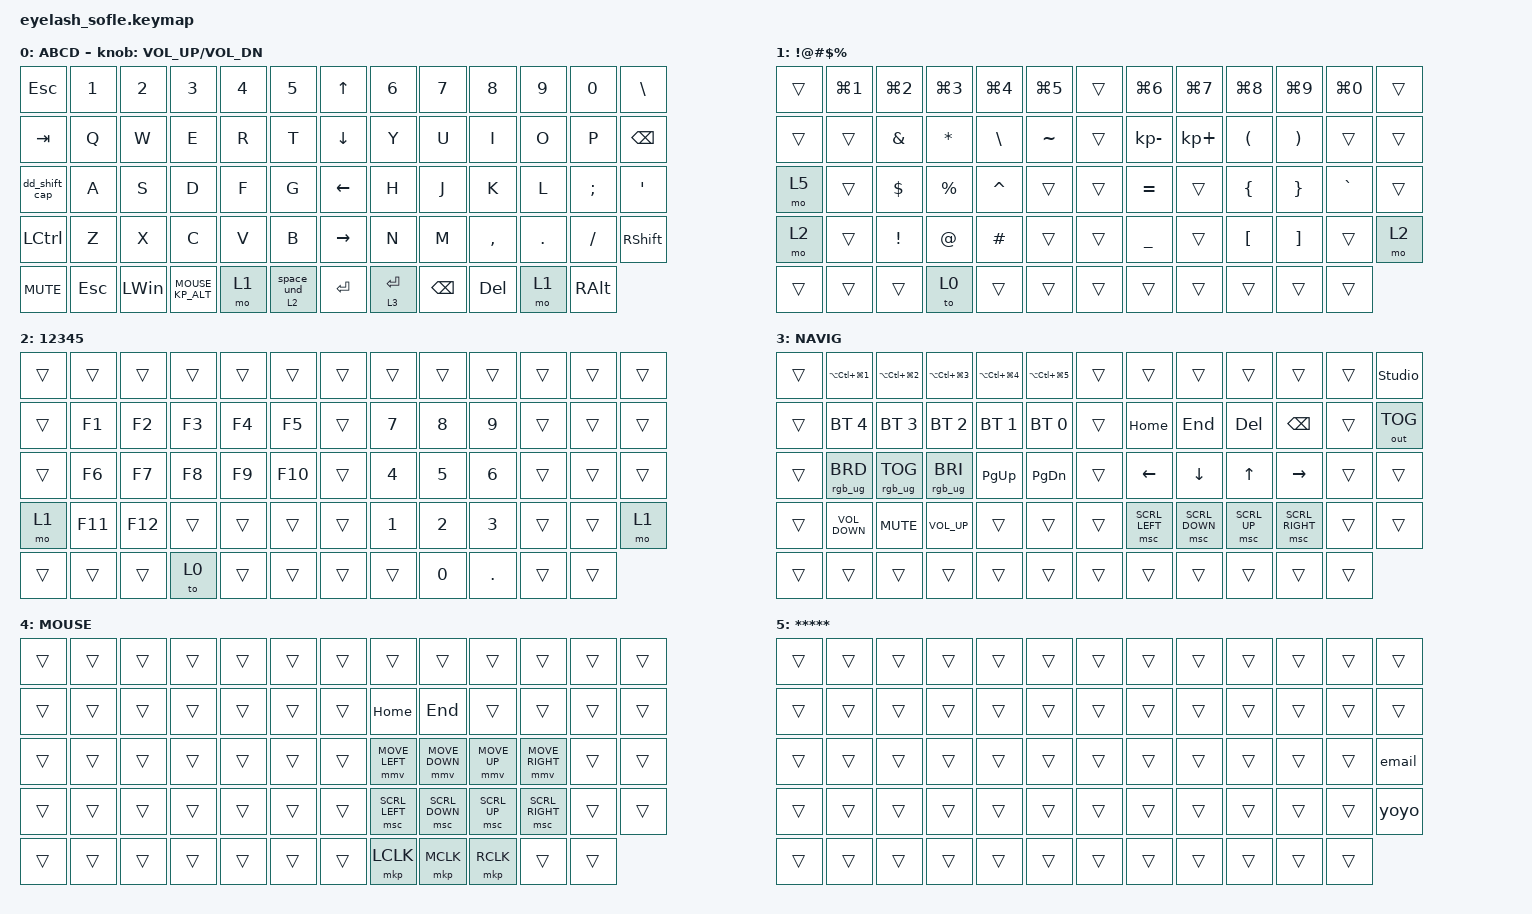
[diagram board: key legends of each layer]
#define ZMK_POINTING_DEFAULT_MOVE_VAL 1200  // 600
#define ZMK_POINTING_DEFAULT_SCRL_VAL 25   // 10

#include <input/processors.dtsi>
#include <zephyr/dt-bindings/input/input-event-codes.h>
#include <behaviors.dtsi>
#include <dt-bindings/zmk/bt.h>
#include <dt-bindings/zmk/keys.h>
#include <dt-bindings/zmk/outputs.h>
#include <dt-bindings/zmk/pointing.h>
#include <dt-bindings/zmk/rgb.h>

&mmv_input_listener { input-processors = <&zip_xy_scaler 2 1>; };

&msc_input_listener { input-processors = <&zip_scroll_scaler 2 1>; };

&msc {
    acceleration-exponent = <1>;      // 0
    time-to-max-speed-ms = <100>;       // 300
    delay-ms = <0>;                   // 0
};

&mmv {
    time-to-max-speed-ms = <500>;
    acceleration-exponent = <1>;
    trigger-period-ms = <16>;
};

/ {
    scroll_encoder: scroll_encoder {
        compatible = "zmk,behavior-sensor-rotate";
        #sensor-binding-cells = <0>;
        bindings = <&msc SCRL_DOWN>, <&msc SCRL_UP>;

        tap-ms = <100>;
    };

    space_und: space_und {
        compatible = "zmk,behavior-mod-morph";
        label = "SPACE_UND";
        bindings = <&kp SPACE>, <&kp UNDER>;

        #binding-cells = <0>;
        mods = <(MOD_LSFT)>;
    };

    LT_Space: LT_Space {
        compatible = "zmk,behavior-hold-tap";
        label = "LT_SPACE";
        bindings = <&mo>, <&space_und>;

        #binding-cells = <2>;
        tapping-term-ms = <200>;
        quick-tap-ms = <175>;
        flavor = "tap-preferred";
    };

    MOUSE_KP_ALT: MOUSE_KP_ALT {
        compatible = "zmk,behavior-tap-dance";
        label = "MOUSE_KP_ALT";
        #binding-cells = <0>;
        bindings = <&kp LEFT_ALT>, <&mo 4>;
    };

    dd_shift_cap: dd_shift_cap {
        compatible = "zmk,behavior-tap-dance";
        label = "DD_SHIFT_CAP";
        #binding-cells = <0>;
        bindings = <&kp LEFT_SHIFT>, <&kp CAPS>;

        tapping-term-ms = <150>;
    };

    behaviors {
    };

    combos {
        compatible = "zmk,combos";

        Equal {
            bindings = <&kp EQUAL>;
            key-positions = <34 35>;
            layers = <0 1 2>;
        };
    };

    macros {
        email: email {
            compatible = "zmk,behavior-macro";
            #binding-cells = <0>;
            bindings = <&kp C &kp B &kp A &kp E &kp AT &kp I &kp D &kp E &kp X &kp C &kp O &kp R &kp P &kp DOT &kp C &kp O &kp M>;
            label = "EMAIL";
        };

        yoyo: yoyo {
            compatible = "zmk,behavior-macro";
            #binding-cells = <0>;
            bindings = <&kp M &kp E &kp L &kp L &kp E &kp S &kp N1 &kp N2 &kp N3 &kp N4 &kp N5 &kp DLLR &kp LS(M) &kp LS(E) &kp LS(L) &kp LS(L) &kp LS(E) &kp LS(S)>;
            label = "YOYO";
        };
    };

    keymap {
        compatible = "zmk,keymap";

        BASE_LAYER {
            bindings = <
&kp ESCAPE        &kp N1      &kp N2        &kp N3         &kp N4  &kp N5           &kp UP_ARROW     &kp N6       &kp N7         &kp N8      &kp N9   &kp N0         &kp BACKSLASH
&kp TAB           &kp Q       &kp W         &kp E          &kp R   &kp T            &kp DOWN_ARROW   &kp Y        &kp U          &kp I       &kp O    &kp P          &kp BACKSPACE
&dd_shift_cap     &kp A       &kp S         &kp D          &kp F   &kp G            &kp LEFT_ARROW   &kp H        &kp J          &kp K       &kp L    &kp SEMI       &kp APOS
&kp LEFT_CONTROL  &kp Z       &kp X         &kp C          &kp V   &kp B            &kp RIGHT_ARROW  &kp N        &kp M          &kp COMMA   &kp DOT  &kp FSLH       &kp RSHIFT
&kp C_MUTE        &kp ESCAPE  &kp LEFT_WIN  &MOUSE_KP_ALT  &mo 1   &LT_Space 2 0    &kp ENTER        &lt 3 ENTER  &kp BACKSPACE  &kp DELETE  &mo 1    &kp RIGHT_ALT
            >;

            sensor-bindings = <&inc_dec_kp C_VOLUME_UP C_VOL_DN>;
            display-name = "ABCD";
        };

        SYMBOL_LAYER {
            bindings = <
&trans  &kp LG(NUMBER_1)  &kp LG(NUMBER_2)  &kp LG(NUMBER_3)  &kp LG(NUMBER_4)  &kp LG(N5)    &trans  &kp LG(NUMBER_6)  &kp LG(N7)   &kp LG(N8)            &kp LG(N9)             &kp LG(N0)  &trans
&trans  &trans            &kp AMPERSAND     &kp ASTERISK      &kp BACKSLASH     &kp TILDE     &trans  &kp KP_MINUS      &kp KP_PLUS  &kp LEFT_PARENTHESIS  &kp RIGHT_PARENTHESIS  &trans      &trans
&mo 5   &trans            &kp DOLLAR        &kp PERCENT       &kp CARET         &trans        &trans  &kp EQUAL         &trans       &kp LEFT_BRACE        &kp RIGHT_BRACE        &kp GRAVE   &trans
&mo 2   &trans            &kp EXCL          &kp AT            &kp HASH          &trans        &trans  &kp UNDER         &trans       &kp LEFT_BRACKET      &kp RIGHT_BRACKET      &trans      &mo 2
&trans  &trans            &trans            &to 0             &trans            &trans        &trans  &trans            &trans       &trans                &trans                 &trans
            >;

            label = "!@#$%";
        };

        NUMBER_LAYER {
            bindings = <
&trans  &trans   &trans   &trans  &trans  &trans     &trans  &trans  &trans  &trans   &trans  &trans  &trans
&trans  &kp F1   &kp F2   &kp F3  &kp F4  &kp F5     &trans  &kp N7  &kp N8  &kp N9   &trans  &trans  &trans
&trans  &kp F6   &kp F7   &kp F8  &kp F9  &kp F10    &trans  &kp N4  &kp N5  &kp N6   &trans  &trans  &trans
&mo 1   &kp F11  &kp F12  &trans  &trans  &trans     &trans  &kp N1  &kp N2  &kp N3   &trans  &trans  &mo 1
&trans  &trans   &trans   &to 0   &trans  &trans     &trans  &trans  &kp N0  &kp DOT  &trans  &trans
            >;

            label = "12345";
        };

        NAVIGATION_LAYER {
            bindings = <
&trans  &kp LA(LC(LG(NUMBER_1)))  &kp LA(LC(LG(NUMBER_2)))  &kp LA(LC(LG(NUMBER_3)))  &kp LA(LC(LG(NUMBER_4)))  &kp LA(LC(LG(N5)))    &trans  &trans          &trans          &trans        &trans           &trans  &studio_unlock
&trans  &bt BT_SEL 4              &bt BT_SEL 3              &bt BT_SEL 2              &bt BT_SEL 1              &bt BT_SEL 0          &trans  &kp HOME        &kp END         &kp DELETE    &kp BACKSPACE    &trans  &out OUT_TOG
&trans  &rgb_ug RGB_BRD           &rgb_ug RGB_TOG           &rgb_ug RGB_BRI           &kp PAGE_UP               &kp PAGE_DOWN         &trans  &kp LEFT_ARROW  &kp DOWN_ARROW  &kp UP_ARROW  &kp RIGHT_ARROW  &trans  &trans
&trans  &kp C_VOLUME_DOWN         &kp C_MUTE                &kp C_VOLUME_UP           &trans                    &trans                &trans  &msc SCRL_LEFT  &msc SCRL_DOWN  &msc SCRL_UP  &msc SCRL_RIGHT  &trans  &trans
&trans  &trans                    &trans                    &trans                    &trans                    &trans                &trans  &trans          &trans          &trans        &trans           &trans
            >;

            label = "NAVIG";
        };

        MOUSE_LAYER {
            bindings = <
&trans  &trans  &trans  &trans  &trans  &trans    &trans  &trans          &trans          &trans        &trans           &trans  &trans
&trans  &trans  &trans  &trans  &trans  &trans    &trans  &kp HOME        &kp END         &trans        &trans           &trans  &trans
&trans  &trans  &trans  &trans  &trans  &trans    &trans  &mmv MOVE_LEFT  &mmv MOVE_DOWN  &mmv MOVE_UP  &mmv MOVE_RIGHT  &trans  &trans
&trans  &trans  &trans  &trans  &trans  &trans    &trans  &msc SCRL_LEFT  &msc SCRL_DOWN  &msc SCRL_UP  &msc SCRL_RIGHT  &trans  &trans
&trans  &trans  &trans  &trans  &trans  &trans    &trans  &mkp LCLK       &mkp MCLK       &mkp RCLK     &trans           &trans
            >;

            label = "MOUSE";
        };

        OffLayer {
            bindings = <
&trans  &trans  &trans  &trans  &trans  &trans    &trans  &trans  &trans  &trans  &trans  &trans  &trans
&trans  &trans  &trans  &trans  &trans  &trans    &trans  &trans  &trans  &trans  &trans  &trans  &trans
&trans  &trans  &trans  &trans  &trans  &trans    &trans  &trans  &trans  &trans  &trans  &trans  &email
&trans  &trans  &trans  &trans  &trans  &trans    &trans  &trans  &trans  &trans  &trans  &trans  &yoyo
&trans  &trans  &trans  &trans  &trans  &trans    &trans  &trans  &trans  &trans  &trans  &trans
            >;

            label = "*****";
        };
    };
};
